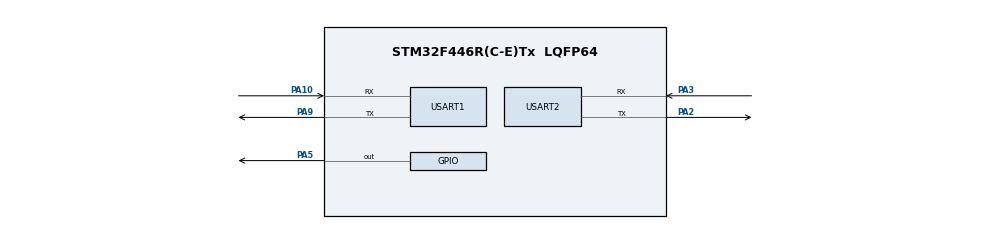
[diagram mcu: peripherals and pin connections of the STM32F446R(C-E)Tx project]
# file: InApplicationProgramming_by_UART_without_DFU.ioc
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Mcu.Family=STM32F4
Mcu.Name=STM32F446R(C-E)Tx
Mcu.Package=LQFP64
NVIC.PriorityGroup=NVIC_PRIORITYGROUP_4
PA10.Mode=Asynchronous
PA10.Signal=USART1_RX
PA13.Mode=Serial_Wire
PA13.Signal=SYS_JTMS-SWDIO
PA14.Mode=Serial_Wire
PA14.Signal=SYS_JTCK-SWCLK
PA2.Mode=Asynchronous
PA2.Signal=USART2_TX
PA3.Mode=Asynchronous
PA3.Signal=USART2_RX
PA5.Signal=GPIO_Output
PA9.Mode=Asynchronous
PA9.Signal=USART1_TX
ProjectManager.HeapSize=0x200
ProjectManager.StackSize=0x400
ProjectManager.TargetToolchain=STM32CubeIDE
RCC.CortexFreq_Value=16000000
RCC.USBFreq_Value=96000000
RCC.VCOOutputFreq_Value=192000000
USART1.VirtualMode=VM_ASYNC
USART2.VirtualMode=VM_ASYNC
board=custom

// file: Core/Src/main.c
/* USER CODE BEGIN Header */
/**
  ******************************************************************************
  * @file           : main.c
  * @brief          : Main program body
  ******************************************************************************
  * @attention
  *
  * Copyright (c) 2026 STMicroelectronics.
  * All rights reserved.
  *
  * This software is licensed under terms that can be found in the LICENSE file
  * in the root directory of this software component.
  * If no LICENSE file comes with this software, it is provided AS-IS.
  *
  ******************************************************************************
  */
/* USER CODE END Header */
#include "main.h"

/* USER CODE BEGIN Includes */
#include "stm32f4xx_hal.h"
/* USER CODE END Includes */

/* USER CODE BEGIN PD */
#define APP_ADDRESS        0x08008000U          /* sector 2 start            */
#define FLASH_END_ADDRESS  0x08080000U          /* 512 KB device end         */
#define SRAM_START         0x20000000U
#define SRAM_END           0x20020000U          /* 128 KB SRAM               */

#define CMD_HANDSHAKE      0x7FU
#define RESP_ACK           0x79U
#define RESP_NACK          0x1FU

#define CHUNK_SIZE         256U

#define BL_WINDOW_MS       8000U
/* USER CODE END PD */

UART_HandleTypeDef huart1;
UART_HandleTypeDef huart2;

void SystemClock_Config(void);
static void MX_GPIO_Init(void);
static void MX_USART1_UART_Init(void);
static void MX_USART2_UART_Init(void);

/* USER CODE BEGIN 0 */
static void uart_send(uint8_t b)
{
    HAL_UART_Transmit(&huart1, &b, 1, 200);
}

static uint32_t addr_to_sector(uint32_t addr)
{
    if      (addr < 0x08004000U) return FLASH_SECTOR_0;   /* 16K */
    else if (addr < 0x08008000U) return FLASH_SECTOR_1;   /* 16K */
    else if (addr < 0x0800C000U) return FLASH_SECTOR_2;   /* 16K */
    else if (addr < 0x08010000U) return FLASH_SECTOR_3;   /* 16K */
    else if (addr < 0x08020000U) return FLASH_SECTOR_4;   /* 64K */
    else if (addr < 0x08040000U) return FLASH_SECTOR_5;   /* 128K */
    else if (addr < 0x08060000U) return FLASH_SECTOR_6;   /* 128K */
    else                         return FLASH_SECTOR_7;   /* 128K */
}

// -----------FLASH ERASE------------------------- (note: 2.7-3V to erase)
/*typedef enum
{
  HAL_OK       = 0x00U,
  HAL_ERROR    = 0x01U,
  HAL_BUSY     = 0x02U,
  HAL_TIMEOUT  = 0x03U
} HAL_StatusTypeDef; */

static HAL_StatusTypeDef flash_erase_app(uint32_t size)
{
    uint32_t first = addr_to_sector(APP_ADDRESS);
    uint32_t last  = addr_to_sector(APP_ADDRESS + size - 1U);

    FLASH_EraseInitTypeDef e = {0};
    e.TypeErase    = FLASH_TYPEERASE_SECTORS;
    e.Banks        = FLASH_BANK_1;
    e.Sector       = first;
    e.NbSectors    = (last - first) + 1U;
    e.VoltageRange = FLASH_VOLTAGE_RANGE_3;

    uint32_t err = 0;
    HAL_FLASH_Unlock();
    HAL_StatusTypeDef st = HAL_FLASHEx_Erase(&e, &err);
    HAL_FLASH_Lock();
    return st;
}

//----------writing in IAP from AN4657---------------

static HAL_StatusTypeDef flash_write(uint32_t addr, const uint8_t *data, uint32_t len)
{
    HAL_FLASH_Unlock();
    for (uint32_t i = 0; i < len; i += 4U) {
        uint32_t word =  (uint32_t)data[i]
                      | ((uint32_t)data[i + 1] << 8)
                      | ((uint32_t)data[i + 2] << 16)
                      | ((uint32_t)data[i + 3] << 24);
        if (HAL_FLASH_Program(FLASH_TYPEPROGRAM_WORD, addr + i, word) != HAL_OK) {
            HAL_FLASH_Lock();
            return HAL_ERROR;
        }
    }
    HAL_FLASH_Lock();
    return HAL_OK;
}

//_______JUMP TO APPLICATION________________

static uint8_t app_is_valid(void)
{
    uint32_t sp = *(volatile uint32_t *)APP_ADDRESS;   /* initial stack ptr  */
    return (sp >= SRAM_START && sp <= SRAM_END);       /* not 0xFFFFFFFF      */
}

static void jump_to_app(void)
{
    uint32_t app_sp    = *(volatile uint32_t *)(APP_ADDRESS);
    uint32_t app_entry = *(volatile uint32_t *)(APP_ADDRESS + 4U);

    __disable_irq();

    HAL_UART_DeInit(&huart1);
    HAL_RCC_DeInit();
    HAL_DeInit();
    SysTick->CTRL = 0;
    SysTick->LOAD = 0;
    SysTick->VAL  = 0;

    SCB->VTOR = APP_ADDRESS;  //Important

    __set_MSP(app_sp);
    __DSB();
    __ISB();
    __enable_irq();

    ((void (*)(void))app_entry)();
    while (1) { }
}

/* ====================================================================== */
/*  Firmware update sequence                                               */
/* ====================================================================== */
static void receive_and_program(void)
{
    uart_send(RESP_ACK);                       /* ack the handshake          */

    /* 1. read the 4-byte size */
    uint8_t szb[4];
    if (HAL_UART_Receive(&huart1, szb, 4, 5000) != HAL_OK) { uart_send(RESP_NACK); return; }
    uint32_t size = (uint32_t)szb[0] | ((uint32_t)szb[1] << 8)
                  | ((uint32_t)szb[2] << 16) | ((uint32_t)szb[3] << 24);

    if (size == 0 || size > (FLASH_END_ADDRESS - APP_ADDRESS)) { uart_send(RESP_NACK); return; }

    /* 2. erase only the sectors we need */
    if (flash_erase_app(size) != HAL_OK) { uart_send(RESP_NACK); return; }
    uart_send(RESP_ACK);                       /* ready for data             */

    /* 3. receive + program in 256-byte chunks */
    uint32_t addr      = APP_ADDRESS;
    uint32_t remaining = size;
    uint8_t  buf[CHUNK_SIZE];

    while (remaining > 0) {
        uint32_t n = (remaining > CHUNK_SIZE) ? CHUNK_SIZE : remaining;

        if (HAL_UART_Receive(&huart1, buf, n, 5000) != HAL_OK) { uart_send(RESP_NACK); return; }

        uint32_t padded = (n + 3U) & ~3U;      /* round up to a word         */
        for (uint32_t i = n; i < padded; i++) buf[i] = 0xFFU;

        if (flash_write(addr, buf, padded) != HAL_OK) { uart_send(RESP_NACK); return; }

        addr      += n;
        remaining -= n;
        uart_send(RESP_ACK);                   /* tell host to send next     */
    }

    HAL_Delay(20);
    jump_to_app();                             /* done - run the new app     */
}

/* USER CODE END 0 */

int main(void)
{

  /* MCU Configuration--------------------------------------------------------*/

  /* Reset of all peripherals, Initializes the Flash interface and the Systick. */
  HAL_Init();

  /* Configure the system clock */
  SystemClock_Config();

  /* Initialize all configured peripherals */
  MX_GPIO_Init();
  MX_USART1_UART_Init();
  MX_USART2_UART_Init();
  /* USER CODE BEGIN 2 */

  uint8_t  b;
  uint8_t  go_update = 0;
  uint32_t t0   = HAL_GetTick();
  uint32_t tled = t0;

  while ((HAL_GetTick() - t0) < BL_WINDOW_MS) {
      if (HAL_UART_Receive(&huart1, &b, 1, 10) == HAL_OK && b == CMD_HANDSHAKE) {
          go_update = 1;
          break;
      }
      if ((HAL_GetTick() - tled) > 150U) {       /* ~3 Hz = "in bootloader" */
          HAL_GPIO_TogglePin(GPIOA, GPIO_PIN_5);
          tled = HAL_GetTick();
      }
  }

  if (go_update) {
      receive_and_program();                 /* jumps to app on success    */
  }

  if (app_is_valid()) {
      jump_to_app();
  }

  /* USER CODE END 2 */

  /* Infinite loop */
  /* USER CODE BEGIN WHILE */
  while (1)
  {
      HAL_GPIO_TogglePin(GPIOA, GPIO_PIN_5);
      HAL_Delay(80);
    /* USER CODE END WHILE */

  }
}

void SystemClock_Config(void)
{
  RCC_OscInitTypeDef RCC_OscInitStruct = {0};
  RCC_ClkInitTypeDef RCC_ClkInitStruct = {0};

  /** Configure the main internal regulator output voltage
  */
  __HAL_RCC_PWR_CLK_ENABLE();
  __HAL_PWR_VOLTAGESCALING_CONFIG(PWR_REGULATOR_VOLTAGE_SCALE3);

  /** Initializes the RCC Oscillators according to the specified parameters
  * in the RCC_OscInitTypeDef structure.
  */
  RCC_OscInitStruct.OscillatorType = RCC_OSCILLATORTYPE_HSI;
  RCC_OscInitStruct.HSIState = RCC_HSI_ON;
  RCC_OscInitStruct.HSICalibrationValue = RCC_HSICALIBRATION_DEFAULT;
  RCC_OscInitStruct.PLL.PLLState = RCC_PLL_NONE;
  if (HAL_RCC_OscConfig(&RCC_OscInitStruct) != HAL_OK)
  {
    Error_Handler();
  }

  /** Initializes the CPU, AHB and APB buses clocks
  */
  RCC_ClkInitStruct.ClockType = RCC_CLOCKTYPE_HCLK|RCC_CLOCKTYPE_SYSCLK
                              |RCC_CLOCKTYPE_PCLK1|RCC_CLOCKTYPE_PCLK2;
  RCC_ClkInitStruct.SYSCLKSource = RCC_SYSCLKSOURCE_HSI;
  RCC_ClkInitStruct.AHBCLKDivider = RCC_SYSCLK_DIV1;
  RCC_ClkInitStruct.APB1CLKDivider = RCC_HCLK_DIV1;
  RCC_ClkInitStruct.APB2CLKDivider = RCC_HCLK_DIV1;

  if (HAL_RCC_ClockConfig(&RCC_ClkInitStruct, FLASH_LATENCY_0) != HAL_OK)
  {
    Error_Handler();
  }
}

static void MX_USART1_UART_Init(void)
{

  huart1.Instance = USART1;
  huart1.Init.BaudRate = 115200;
  huart1.Init.WordLength = UART_WORDLENGTH_8B;
  huart1.Init.StopBits = UART_STOPBITS_1;
  huart1.Init.Parity = UART_PARITY_NONE;
  huart1.Init.Mode = UART_MODE_TX_RX;
  huart1.Init.HwFlowCtl = UART_HWCONTROL_NONE;
  huart1.Init.OverSampling = UART_OVERSAMPLING_16;
  if (HAL_UART_Init(&huart1) != HAL_OK)
  {
    Error_Handler();
  }

}

static void MX_USART2_UART_Init(void)
{

  huart2.Instance = USART2;
  huart2.Init.BaudRate = 115200;
  huart2.Init.WordLength = UART_WORDLENGTH_8B;
  huart2.Init.StopBits = UART_STOPBITS_1;
  huart2.Init.Parity = UART_PARITY_NONE;
  huart2.Init.Mode = UART_MODE_TX_RX;
  huart2.Init.HwFlowCtl = UART_HWCONTROL_NONE;
  huart2.Init.OverSampling = UART_OVERSAMPLING_16;
  if (HAL_UART_Init(&huart2) != HAL_OK)
  {
    Error_Handler();
  }

}

static void MX_GPIO_Init(void)
{
  GPIO_InitTypeDef GPIO_InitStruct = {0};

  /* GPIO Ports Clock Enable */
  __HAL_RCC_GPIOA_CLK_ENABLE();

  /*Configure GPIO pin Output Level */
  HAL_GPIO_WritePin(GPIOA, GPIO_PIN_5, GPIO_PIN_RESET);

  /*Configure GPIO pin : PA5 */
  GPIO_InitStruct.Pin = GPIO_PIN_5;
  GPIO_InitStruct.Mode = GPIO_MODE_OUTPUT_PP;
  GPIO_InitStruct.Pull = GPIO_NOPULL;
  GPIO_InitStruct.Speed = GPIO_SPEED_FREQ_LOW;
  HAL_GPIO_Init(GPIOA, &GPIO_InitStruct);

}

void Error_Handler(void)
{
  __disable_irq();
  while (1)
  {
  }
}
